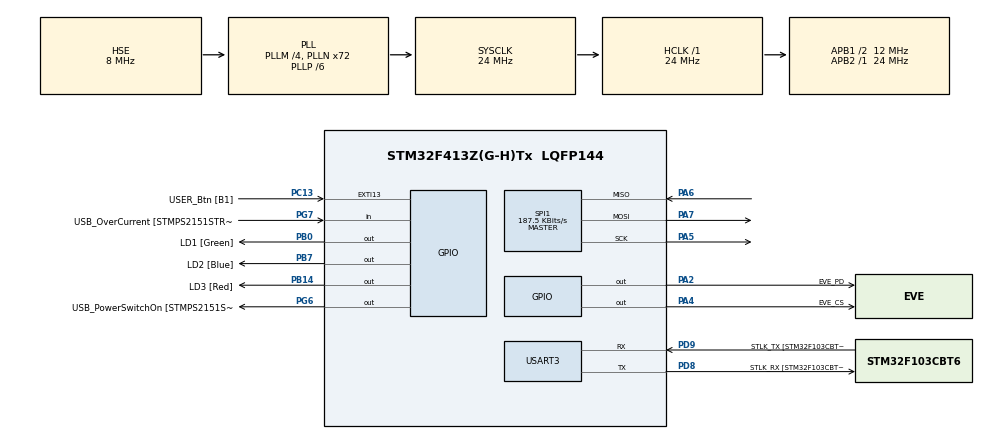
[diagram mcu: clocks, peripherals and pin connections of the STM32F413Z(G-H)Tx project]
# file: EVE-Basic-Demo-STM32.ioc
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Mcu.Family=STM32F4
Mcu.Name=STM32F413Z(G-H)Tx
Mcu.Package=LQFP144
NVIC.PriorityGroup=NVIC_PRIORITYGROUP_4
PA10.GPIO_Label=USB_ID
PA10.Signal=USB_OTG_FS_ID
PA11.GPIO_Label=USB_DM
PA11.Signal=USB_OTG_FS_DM
PA12.GPIO_Label=USB_DP
PA12.Signal=USB_OTG_FS_DP
PA13.GPIO_Label=TMS
PA13.Mode=Serial_Wire
PA13.Signal=SYS_JTMS-SWDIO
PA14.GPIO_Label=TCK
PA14.Mode=Serial_Wire
PA14.Signal=SYS_JTCK-SWCLK
PA2.GPIO_Label=EVE_PD
PA2.Signal=GPIO_Output
PA4.GPIO_Label=EVE_CS
PA4.Signal=GPIO_Output
PA5.Mode=Full_Duplex_Master
PA5.Signal=SPI1_SCK
PA6.Mode=Full_Duplex_Master
PA6.Signal=SPI1_MISO
PA7.Mode=Full_Duplex_Master
PA7.Signal=SPI1_MOSI
PA8.GPIO_Label=USB_SOF [TP1]
PA8.Signal=USB_OTG_FS_SOF
PA9.GPIO_Label=USB_VBUS
PA9.Signal=USB_OTG_FS_VBUS
PB0.GPIO_Label=LD1 [Green]
PB0.Signal=GPIO_Output
PB14.GPIO_Label=LD3 [Red]
PB14.Signal=GPIO_Output
PB3.GPIO_Label=SWO
PB3.Signal=SYS_JTDO-SWO
PB7.GPIO_Label=LD2 [Blue]
PB7.Signal=GPIO_Output
PC13.GPIO_Label=USER_Btn [B1]
PC13.Signal=GPXTI13
PC14-OSC32_IN.Mode=LSE-External-Oscillator
PC14-OSC32_IN.Signal=RCC_OSC32_IN
PC15-OSC32_OUT.Mode=LSE-External-Oscillator
PC15-OSC32_OUT.Signal=RCC_OSC32_OUT
PD8.GPIO_Label=STLK_RX [STM32F103CBT6_PA3]
PD8.Mode=Asynchronous
PD8.Signal=USART3_TX
PD9.GPIO_Label=STLK_TX [STM32F103CBT6_PA2]
PD9.Mode=Asynchronous
PD9.Signal=USART3_RX
PG6.GPIO_Label=USB_PowerSwitchOn [STMPS2151STR_EN]
PG6.Signal=GPIO_Output
PG7.GPIO_Label=USB_OverCurrent [STMPS2151STR_FAULT]
PG7.Signal=GPIO_Input
PH0\ -\ OSC_IN.GPIO_Label=MCO
PH0\ -\ OSC_IN.Mode=HSE-External-Clock-Source
PH0\ -\ OSC_IN.Signal=RCC_OSC_IN
PH1\ -\ OSC_OUT.Mode=HSE-External-Clock-Source
PH1\ -\ OSC_OUT.Signal=RCC_OSC_OUT
ProjectManager.HeapSize=0x200
ProjectManager.StackSize=0x400
ProjectManager.TargetToolchain=Makefile
RCC.48MHZClocksFreq_Value=24000000
RCC.AHBFreq_Value=24000000
RCC.APB1CLKDivider=RCC_HCLK_DIV2
RCC.APB1Freq_Value=12000000
RCC.APB1TimFreq_Value=24000000
RCC.APB2Freq_Value=24000000
RCC.APB2TimFreq_Value=24000000
RCC.CortexFreq_Value=24000000
RCC.HCLKFreq_Value=24000000
RCC.HSE_VALUE=8000000
RCC.HSI_VALUE=16000000
RCC.PLLM=4
RCC.PLLMUL=RCC_PLL_MUL9
RCC.PLLN=72
RCC.PLLP=RCC_PLLP_DIV6
RCC.PLLQ=8
RCC.PLLSourceVirtual=RCC_PLLSOURCE_HSE
RCC.PRESCALERUSB=RCC_USBCLKSOURCE_PLL_DIV1_5
RCC.SYSCLKFreq_VALUE=24000000
RCC.SYSCLKSource=RCC_SYSCLKSOURCE_PLLCLK
RCC.SYSCLKSourceVirtual=RCC_SYSCLKSOURCE_PLLCLK
RCC.USBFreq_Value=18000000
RCC.VCOOutputFreq_Value=144000000
SPI1.BaudRatePrescaler=SPI_BAUDRATEPRESCALER_128
SPI1.CalculateBaudRate=187.5 KBits/s
SPI1.Direction=SPI_DIRECTION_2LINES
SPI1.Mode=SPI_MODE_MASTER
SPI1.TIMode=SPI_TIMODE_DISABLE
SPI1.VirtualType=VM_MASTER
USART3.VirtualMode=VM_ASYNC
board=NUCLEO-F413ZH

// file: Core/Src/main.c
/* USER CODE BEGIN Header */
/**
  ******************************************************************************
  * @file           : main.c
  * @brief          : Main program body
  ******************************************************************************
  * @attention
  *
  * <h2><center>&copy; Copyright (c) 2020 STMicroelectronics.
  * All rights reserved.</center></h2>
  *
  * This software component is licensed by ST under BSD 3-Clause license,
  * the "License"; You may not use this file except in compliance with the
  * License. You may obtain a copy of the License at:
  *                        opensource.org/licenses/BSD-3-Clause
  *
  ******************************************************************************
  */
/* USER CODE END Header */
#include "main.h"

/* USER CODE BEGIN Includes */
#include "Eve2_81x.h"
#include "MatrixEve2Conf.h"
/* USER CODE END Includes */

 SPI_HandleTypeDef hspi1;

UART_HandleTypeDef huart3;

void SystemClock_Config(void);
static void MX_GPIO_Init(void);
static void MX_SPI1_Init(void);
static void MX_USART3_UART_Init(void);

/* USER CODE BEGIN 0 */
//MakeScreen_MatrixOrbital draws a blue dot in the center screen, along
//with the text "MATRIX ORBITAL"
void MakeScreen_MatrixOrbital(uint8_t DotSize)
{
	Send_CMD(CMD_DLSTART);                  // Start a new display list
	Send_CMD(CLEAR_COLOR_RGB(0, 0, 0));     // Determine the clear screen color
	Send_CMD(CLEAR(1, 1, 1));	            // Clear the screen and the curren display list
	Send_CMD(TAG(1));                       // Tag the blue dot with a touch ID
	Send_CMD(COLOR_RGB(0, 0, 0));           // change colour to black
	Send_CMD(BEGIN(RECTS));                 // start drawing point
	Send_CMD(VERTEX2F(0,0));
	Send_CMD(VERTEX2F(Display_Width()*16,Display_Height()*16));
	Send_CMD(BEGIN(POINTS));                 // start drawing point
	Send_CMD(COLOR_RGB(26, 26, 192));        // change colour to blue
	Send_CMD(POINT_SIZE(DotSize * 16));      // set point size to DotSize pixels. Points = (pixels x 16)
	Send_CMD(VERTEX2II(Display_Width() / 2, Display_Height() / 2, 0, 0));     // place blue point
	Send_CMD(END());                         // end drawing point
	Send_CMD(COLOR_RGB(255, 255, 255));      //Change color to white for text
	Cmd_Text(Display_Width() / 2, Display_Height() / 2, 30, OPT_CENTER, " MATRIX         ORBITAL"); //Write text in the center of the screen
	Send_CMD(DISPLAY());                     //End the display list
	Send_CMD(CMD_SWAP);                      //Swap commands into RAM
	UpdateFIFO();                            // Trigger the CoProcessor to start processing the FIFO
}

// A calibration screen for the touch digitizer
void MakeScreen_Calibrate(void)
{
  Send_CMD(CMD_DLSTART);
  Send_CMD(CLEAR_COLOR_RGB(0,0,0));
  Send_CMD(CLEAR(1,1,1));
  Cmd_Text(100, 10, 27, OPT_CENTER, "Tap on the dots");
  Cmd_Calibrate(0);                                           // This widget generates a blocking screen that doesn't unblock until 3 dots have been touched
  Send_CMD(DISPLAY());
  Send_CMD(CMD_SWAP);
  UpdateFIFO();                                               // Trigger the CoProcessor to start processing commands out of the FIFO

  Wait4CoProFIFOEmpty();                                      // wait here until the coprocessor has read and executed every pending command.
}

/* USER CODE END 0 */

int main(void)
{

  /* MCU Configuration--------------------------------------------------------*/

  /* Reset of all peripherals, Initializes the Flash interface and the Systick. */
  HAL_Init();

  /* Configure the system clock */
  SystemClock_Config();

  /* Initialize all configured peripherals */
  MX_GPIO_Init();
  MX_SPI1_Init();
  MX_USART3_UART_Init();
  /* USER CODE BEGIN 2 */
  FT81x_Init(DISPLAY_50, BOARD_EVE2, TOUCH_TPR);

  HAL_GPIO_WritePin(LD1_GPIO_Port, LD1_Pin, GPIO_PIN_SET);

  MakeScreen_MatrixOrbital(20);
  if (Display_Touch() == TOUCH_TPC || Display_Touch() == TOUCH_TPR)
  {
	  MakeScreen_Calibrate();
  }
  int LastTag = 0;
  /* USER CODE END 2 */

  /* Infinite loop */
  while (1)
  {

    /* USER CODE BEGIN 3 */
	  //MakeScreen_MatrixOrbital(20 + rand() %50);
	  int Tag = rd8(REG_TOUCH_TAG + RAM_REG);                    // Check for touches
	  if (Tag != LastTag)
	  {
		  MakeScreen_MatrixOrbital(20 + (Tag ? 20 : 0));
		  LastTag = Tag;
	  }

  }
  /* USER CODE END 3 */
}

void SystemClock_Config(void)
{
  RCC_OscInitTypeDef RCC_OscInitStruct = {0};
  RCC_ClkInitTypeDef RCC_ClkInitStruct = {0};

  /** Configure the main internal regulator output voltage
  */
  __HAL_RCC_PWR_CLK_ENABLE();
  __HAL_PWR_VOLTAGESCALING_CONFIG(PWR_REGULATOR_VOLTAGE_SCALE1);

  /** Initializes the RCC Oscillators according to the specified parameters
  * in the RCC_OscInitTypeDef structure.
  */
  RCC_OscInitStruct.OscillatorType = RCC_OSCILLATORTYPE_HSE;
  RCC_OscInitStruct.HSEState = RCC_HSE_BYPASS;
  RCC_OscInitStruct.PLL.PLLState = RCC_PLL_ON;
  RCC_OscInitStruct.PLL.PLLSource = RCC_PLLSOURCE_HSE;
  RCC_OscInitStruct.PLL.PLLM = 4;
  RCC_OscInitStruct.PLL.PLLN = 72;
  RCC_OscInitStruct.PLL.PLLP = RCC_PLLP_DIV6;
  RCC_OscInitStruct.PLL.PLLQ = 8;
  RCC_OscInitStruct.PLL.PLLR = 2;
  if (HAL_RCC_OscConfig(&RCC_OscInitStruct) != HAL_OK)
  {
    Error_Handler();
  }

  /** Initializes the CPU, AHB and APB buses clocks
  */
  RCC_ClkInitStruct.ClockType = RCC_CLOCKTYPE_HCLK|RCC_CLOCKTYPE_SYSCLK
                              |RCC_CLOCKTYPE_PCLK1|RCC_CLOCKTYPE_PCLK2;
  RCC_ClkInitStruct.SYSCLKSource = RCC_SYSCLKSOURCE_PLLCLK;
  RCC_ClkInitStruct.AHBCLKDivider = RCC_SYSCLK_DIV1;
  RCC_ClkInitStruct.APB1CLKDivider = RCC_HCLK_DIV2;
  RCC_ClkInitStruct.APB2CLKDivider = RCC_HCLK_DIV1;

  if (HAL_RCC_ClockConfig(&RCC_ClkInitStruct, FLASH_LATENCY_0) != HAL_OK)
  {
    Error_Handler();
  }
}

static void MX_SPI1_Init(void)
{

  /* SPI1 parameter configuration*/
  hspi1.Instance = SPI1;
  hspi1.Init.Mode = SPI_MODE_MASTER;
  hspi1.Init.Direction = SPI_DIRECTION_2LINES;
  hspi1.Init.DataSize = SPI_DATASIZE_8BIT;
  hspi1.Init.CLKPolarity = SPI_POLARITY_LOW;
  hspi1.Init.CLKPhase = SPI_PHASE_1EDGE;
  hspi1.Init.NSS = SPI_NSS_SOFT;
  hspi1.Init.BaudRatePrescaler = SPI_BAUDRATEPRESCALER_128;
  hspi1.Init.FirstBit = SPI_FIRSTBIT_MSB;
  hspi1.Init.TIMode = SPI_TIMODE_DISABLE;
  hspi1.Init.CRCCalculation = SPI_CRCCALCULATION_DISABLE;
  hspi1.Init.CRCPolynomial = 10;
  if (HAL_SPI_Init(&hspi1) != HAL_OK)
  {
    Error_Handler();
  }

}

static void MX_USART3_UART_Init(void)
{

  huart3.Instance = USART3;
  huart3.Init.BaudRate = 115200;
  huart3.Init.WordLength = UART_WORDLENGTH_8B;
  huart3.Init.StopBits = UART_STOPBITS_1;
  huart3.Init.Parity = UART_PARITY_NONE;
  huart3.Init.Mode = UART_MODE_TX_RX;
  huart3.Init.HwFlowCtl = UART_HWCONTROL_NONE;
  huart3.Init.OverSampling = UART_OVERSAMPLING_16;
  if (HAL_UART_Init(&huart3) != HAL_OK)
  {
    Error_Handler();
  }

}

static void MX_GPIO_Init(void)
{
  GPIO_InitTypeDef GPIO_InitStruct = {0};

  /* GPIO Ports Clock Enable */
  __HAL_RCC_GPIOC_CLK_ENABLE();
  __HAL_RCC_GPIOH_CLK_ENABLE();
  __HAL_RCC_GPIOA_CLK_ENABLE();
  __HAL_RCC_GPIOB_CLK_ENABLE();
  __HAL_RCC_GPIOD_CLK_ENABLE();
  __HAL_RCC_GPIOG_CLK_ENABLE();

  /*Configure GPIO pin Output Level */
  HAL_GPIO_WritePin(GPIOA, EVE_PD_Pin|EVE_CS_Pin, GPIO_PIN_RESET);

  /*Configure GPIO pin Output Level */
  HAL_GPIO_WritePin(GPIOB, LD1_Pin|LD3_Pin|LD2_Pin, GPIO_PIN_RESET);

  /*Configure GPIO pin Output Level */
  HAL_GPIO_WritePin(USB_PowerSwitchOn_GPIO_Port, USB_PowerSwitchOn_Pin, GPIO_PIN_RESET);

  /*Configure GPIO pin : USER_Btn_Pin */
  GPIO_InitStruct.Pin = USER_Btn_Pin;
  GPIO_InitStruct.Mode = GPIO_MODE_IT_RISING;
  GPIO_InitStruct.Pull = GPIO_NOPULL;
  HAL_GPIO_Init(USER_Btn_GPIO_Port, &GPIO_InitStruct);

  /*Configure GPIO pins : EVE_PD_Pin EVE_CS_Pin */
  GPIO_InitStruct.Pin = EVE_PD_Pin|EVE_CS_Pin;
  GPIO_InitStruct.Mode = GPIO_MODE_OUTPUT_PP;
  GPIO_InitStruct.Pull = GPIO_NOPULL;
  GPIO_InitStruct.Speed = GPIO_SPEED_FREQ_LOW;
  HAL_GPIO_Init(GPIOA, &GPIO_InitStruct);

  /*Configure GPIO pins : LD1_Pin LD3_Pin LD2_Pin */
  GPIO_InitStruct.Pin = LD1_Pin|LD3_Pin|LD2_Pin;
  GPIO_InitStruct.Mode = GPIO_MODE_OUTPUT_PP;
  GPIO_InitStruct.Pull = GPIO_NOPULL;
  GPIO_InitStruct.Speed = GPIO_SPEED_FREQ_LOW;
  HAL_GPIO_Init(GPIOB, &GPIO_InitStruct);

  /*Configure GPIO pin : USB_PowerSwitchOn_Pin */
  GPIO_InitStruct.Pin = USB_PowerSwitchOn_Pin;
  GPIO_InitStruct.Mode = GPIO_MODE_OUTPUT_PP;
  GPIO_InitStruct.Pull = GPIO_NOPULL;
  GPIO_InitStruct.Speed = GPIO_SPEED_FREQ_LOW;
  HAL_GPIO_Init(USB_PowerSwitchOn_GPIO_Port, &GPIO_InitStruct);

  /*Configure GPIO pin : USB_OverCurrent_Pin */
  GPIO_InitStruct.Pin = USB_OverCurrent_Pin;
  GPIO_InitStruct.Mode = GPIO_MODE_INPUT;
  GPIO_InitStruct.Pull = GPIO_NOPULL;
  HAL_GPIO_Init(USB_OverCurrent_GPIO_Port, &GPIO_InitStruct);

  /*Configure GPIO pins : USB_SOF_Pin USB_ID_Pin USB_DM_Pin USB_DP_Pin */
  GPIO_InitStruct.Pin = USB_SOF_Pin|USB_ID_Pin|USB_DM_Pin|USB_DP_Pin;
  GPIO_InitStruct.Mode = GPIO_MODE_AF_PP;
  GPIO_InitStruct.Pull = GPIO_NOPULL;
  GPIO_InitStruct.Speed = GPIO_SPEED_FREQ_VERY_HIGH;
  GPIO_InitStruct.Alternate = GPIO_AF10_OTG_FS;
  HAL_GPIO_Init(GPIOA, &GPIO_InitStruct);

}

void Error_Handler(void)
{
}
